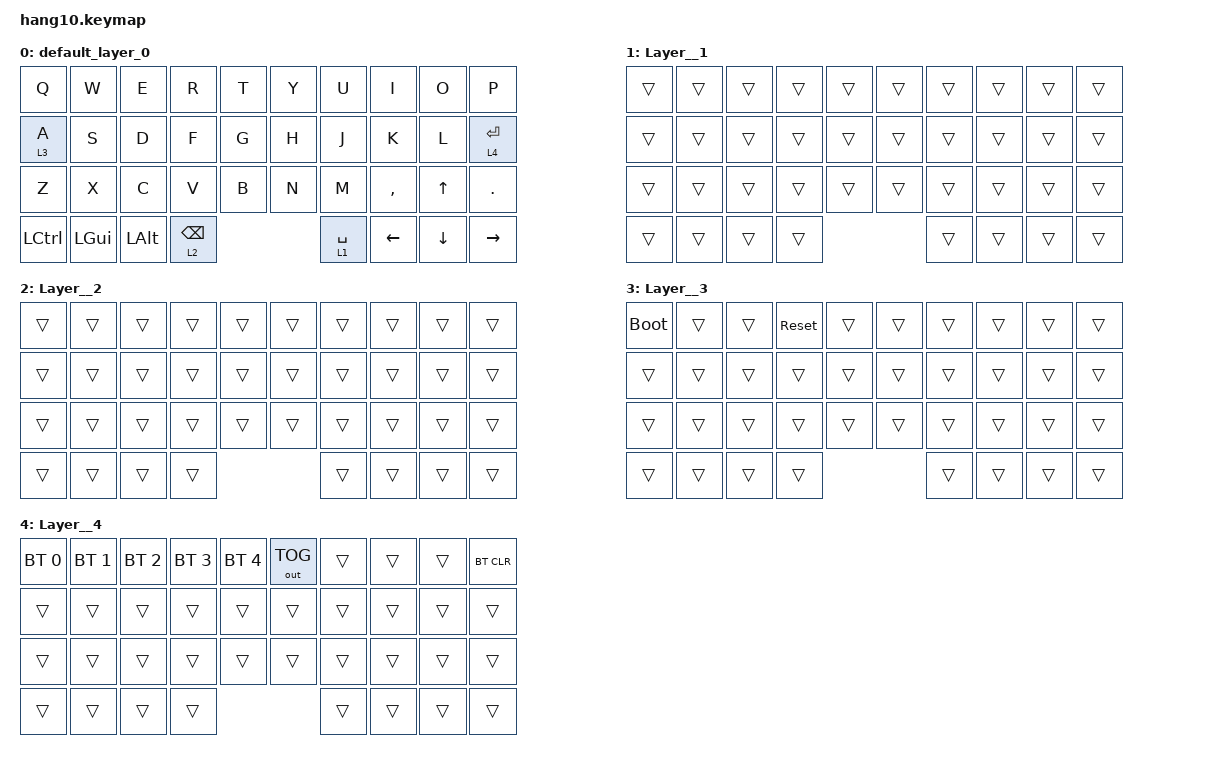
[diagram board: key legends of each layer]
/*
 * Copyright (c) 2020 The ZMK Contributors
 *
 * SPDX-License-Identifier: MIT
 */

#include <behaviors.dtsi>
#include <dt-bindings/zmk/keys.h>
#include <dt-bindings/zmk/bt.h>
#include <dt-bindings/zmk/outputs.h>

&mt {
    tapping-term-ms = <200>;
};

&lt {
    quick-tap-ms = <400>;
};

/ {
    keymap {
        compatible = "zmk,keymap";

        default_layer_0 {
            bindings = <
    &kp Q     &kp W     &kp E  &kp R       &kp T        &kp Y  &kp U      &kp I     &kp O      &kp P
  &lt 3 A     &kp S     &kp D  &kp F       &kp G        &kp H  &kp J      &kp K     &kp L  &lt 4 RET
    &kp Z     &kp X     &kp C  &kp V       &kp B        &kp N  &kp M  &kp COMMA    &kp UP    &kp DOT
&kp LCTRL  &kp LGUI  &kp LALT         &lt 2 BSPC  &lt 1 SPACE          &kp LEFT  &kp DOWN  &kp RIGHT
            >;
        };

        Layer__1 {
            bindings = <
&trans  &trans  &trans  &trans  &trans  &trans  &trans  &trans  &trans  &trans
&trans  &trans  &trans  &trans  &trans  &trans  &trans  &trans  &trans  &trans
&trans  &trans  &trans  &trans  &trans  &trans  &trans  &trans  &trans  &trans
&trans  &trans  &trans          &trans  &trans          &trans  &trans  &trans
            >;
        };

        Layer__2 {
            bindings = <
&trans  &trans  &trans  &trans  &trans  &trans  &trans  &trans  &trans  &trans
&trans  &trans  &trans  &trans  &trans  &trans  &trans  &trans  &trans  &trans
&trans  &trans  &trans  &trans  &trans  &trans  &trans  &trans  &trans  &trans
&trans  &trans  &trans          &trans  &trans          &trans  &trans  &trans
            >;
        };

        Layer__3 {
            bindings = <
&bootloader  &trans  &trans  &sys_reset  &trans  &trans  &trans  &trans  &trans  &trans
     &trans  &trans  &trans  &trans  &trans  &trans  &trans  &trans  &trans  &trans
     &trans  &trans  &trans  &trans  &trans  &trans  &trans  &trans  &trans  &trans
     &trans  &trans  &trans          &trans  &trans          &trans  &trans  &trans
            >;
        };

        Layer__4 {
            bindings = <
&bt BT_SEL 0  &bt BT_SEL 1  &bt BT_SEL 2  &bt BT_SEL 3  &bt BT_SEL 4  &out OUT_TOG  &trans  &trans  &trans  &bt BT_CLR
      &trans        &trans        &trans        &trans        &trans        &trans  &trans  &trans  &trans      &trans
      &trans        &trans        &trans        &trans        &trans        &trans  &trans  &trans  &trans      &trans
      &trans        &trans        &trans                      &trans        &trans          &trans  &trans      &trans
            >;
        };
    };
};
